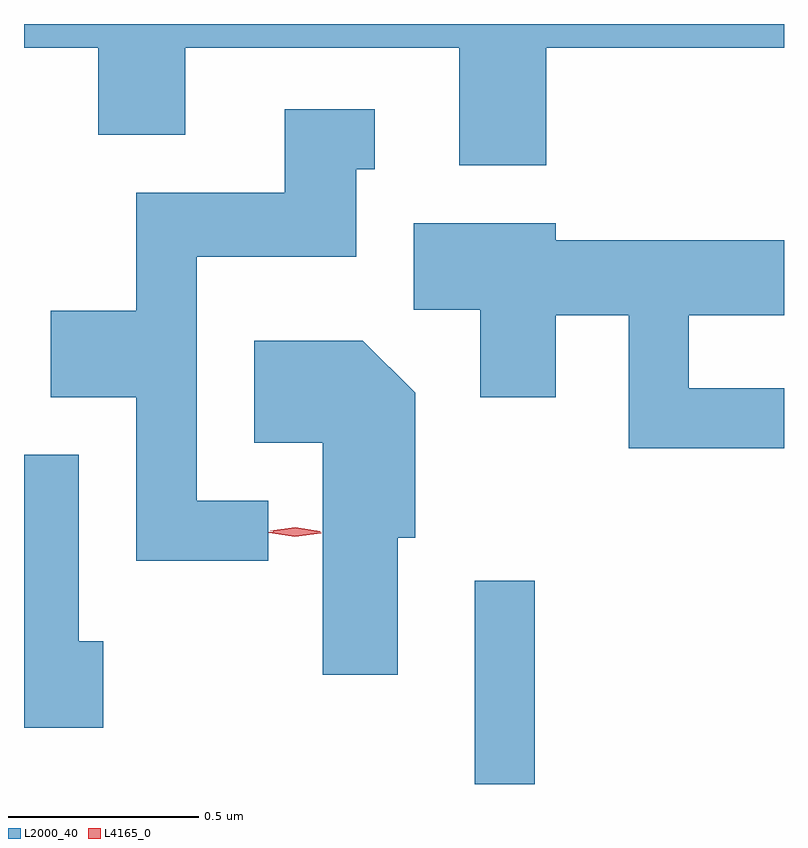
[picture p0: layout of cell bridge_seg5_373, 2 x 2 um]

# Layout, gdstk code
import gdstk
lib = gdstk.Library(unit=1e-6, precision=1e-09)
def R(c, l, rs):  # rectangles x0, y0, x1, y1
    for r in rs: c.add(gdstk.rectangle(r[:2], r[2:], *l))
def P(c, l, *ps):  # polygons
    for p in ps: c.add(gdstk.Polygon(p, *l))
L2000_40 = (2000, 40)
L4165_0 = (4165, 0)

bridge_seg5_373 = lib.new_cell('bridge_seg5_373')
R(bridge_seg5_373, L2000_40, [(790.261,1443.758,790.419,1444.293)])
P(bridge_seg5_373, L2000_40, [(790.449,1445.696),(791.075,1445.696),(791.075,1445.758),(789.075,1445.758),(789.075,1445.696),(789.271,1445.696),(789.271,1445.466),(789.499,1445.466),(789.499,1445.696),(790.221,1445.696),(790.221,1445.386),(790.449,1445.386)],
  [(789.718,1444.504),(789.529,1444.504),(789.529,1445.146),(789.949,1445.146),(789.949,1445.376),(789.998,1445.376),(789.998,1445.534),(789.761,1445.534),(789.761,1445.314),(789.371,1445.314),(789.371,1445.004),(789.146,1445.004),(789.146,1444.776),(789.371,1444.776),(789.371,1444.346),(789.718,1444.346)],
  [(791.075,1444.799),(790.824,1444.799),(790.824,1444.991),(791.075,1444.991),(791.075,1445.189),(790.474,1445.189),(790.474,1445.234),(790.101,1445.234),(790.101,1445.006),(790.276,1445.006),(790.276,1444.776),(790.474,1444.776),(790.474,1444.991),(790.666,1444.991),(790.666,1444.641),(791.075,1444.641)],
  [(790.059,1444.406),(790.104,1444.406),(790.104,1444.787),(789.967,1444.924),(789.681,1444.924),(789.681,1444.656),(789.861,1444.656),(789.861,1444.046),(790.059,1444.046)],
  [(789.284,1444.134),(789.219,1444.134),(789.219,1444.624),(789.075,1444.624),(789.075,1443.906),(789.284,1443.906)])
P(bridge_seg5_373, L4165_0, [(789.788,1444.414),(789.723,1444.424),(789.722,1444.425),(789.723,1444.425),(789.789,1444.434),(789.854,1444.423),(789.855,1444.422),(789.854,1444.422)],
  [(789.788,1444.409),(789.719,1444.419),(789.719,1444.42),(789.719,1444.42),(789.788,1444.429),(789.857,1444.419),(789.857,1444.418),(789.857,1444.418)])

lib.write_gds('bridge_seg5_373.gds')
